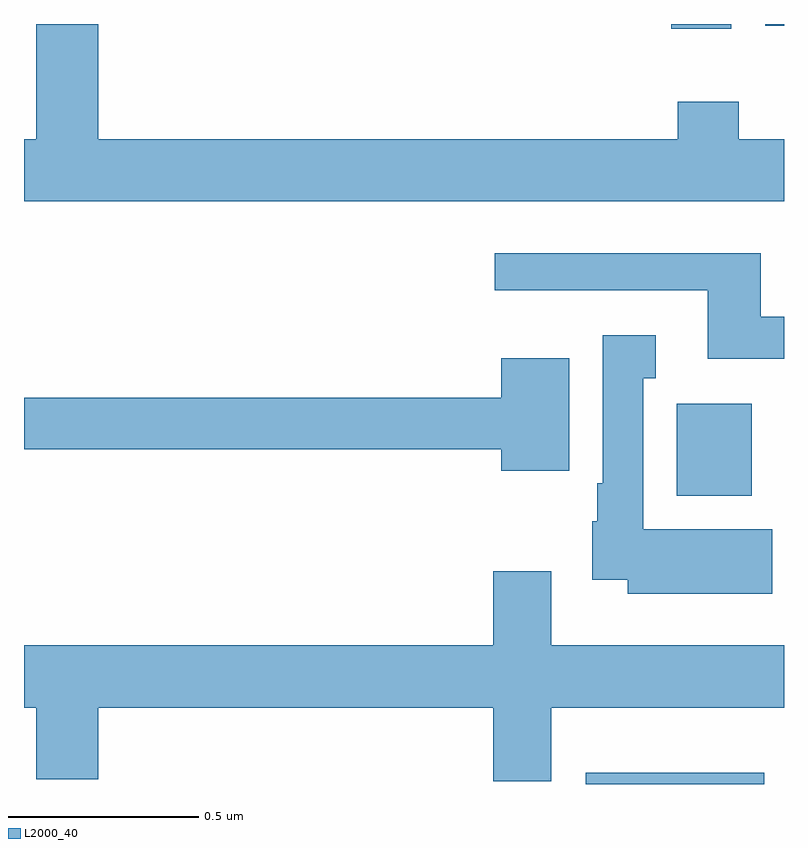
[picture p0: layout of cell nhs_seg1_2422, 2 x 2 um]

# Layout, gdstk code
import gdstk
lib = gdstk.Library(unit=1e-6, precision=1e-09)
def R(c, l, rs):  # rectangles x0, y0, x1, y1
    for r in rs: c.add(gdstk.rectangle(r[:2], r[2:], *l))
def P(c, l, *ps):  # polygons
    for p in ps: c.add(gdstk.Polygon(p, *l))
L2000_40 = (2000, 40)

nhs_seg1_2422 = lib.new_cell('nhs_seg1_2422')
R(nhs_seg1_2422, L2000_40, [(142.478,550.199,142.948,550.228), (142.718,550.958,142.915,551.2), (142.703,552.186,142.861,552.199), (142.95,552.195,143,552.199)])
P(nhs_seg1_2422, L2000_40, [(143,551.896),(142.881,551.896),(142.881,551.995),(142.721,551.995),(142.721,551.896),(141.196,551.896),(141.196,552.199),(141.032,552.199),(141.032,551.896),(141,551.896),(141,551.732),(143,551.732)],
  [(143,551.428),(142.939,551.428),(142.939,551.596),(142.239,551.596),(142.239,551.499),(142.799,551.499),(142.799,551.318),(143,551.318)],
  [(142.969,550.87),(142.63,550.87),(142.63,551.267),(142.663,551.267),(142.663,551.38),(142.523,551.38),(142.523,550.99),(142.508,550.99),(142.508,550.89),(142.496,550.89),(142.496,550.736),(142.589,550.736),(142.589,550.7),(142.969,550.7)],
  [(142.435,551.32),(142.256,551.32),(142.256,551.216),(141,551.216),(141,551.08),(142.256,551.08),(142.256,551.024),(142.435,551.024)],
  [(142.387,550.4),(143,550.4),(143,550.564),(142.387,550.564),(142.387,550.759),(142.235,550.759),(142.235,550.564),(141,550.564),(141,550.4),(141.032,550.4),(141.032,550.212),(141.196,550.212),(141.196,550.4),(142.235,550.4),(142.235,550.206),(142.387,550.206)])

lib.write_gds('nhs_seg1_2422.gds')
